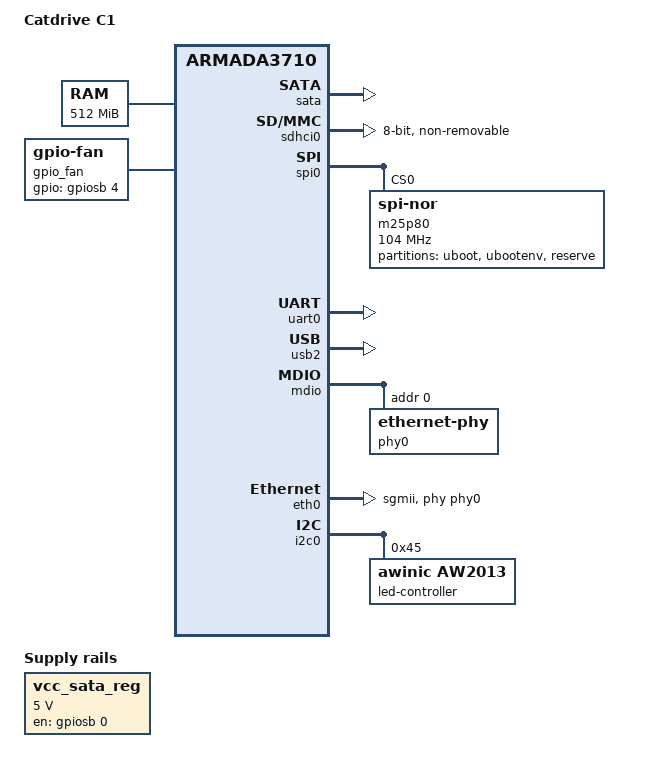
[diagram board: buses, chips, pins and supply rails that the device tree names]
// SPDX-License-Identifier: (GPL-2.0+ OR MIT)

/dts-v1/;

#include <dt-bindings/gpio/gpio.h>
#include <dt-bindings/leds/common.h>
#include "armada-372x.dtsi"

/ {
	model = "Catdrive C1";
	compatible = "catdrive,c1", "marvell,armada3720",
			 "marvell,armada3710";
	aliases {
		ethernet0 = &eth0;
		i2c0 = &i2c0;
	};
	chosen {
		stdout-path = "serial0:115200n8";
	};

	memory@0 {
		device_type = "memory";
		reg = <0x00000000 0x00000000 0x00000000 0x20000000>;
	};

	vcc_sata_reg: regulator {
		compatible = "regulator-fixed";
		regulator-name = "vcc_sata";
		regulator-min-microvolt = <5000000>;
		regulator-max-microvolt = <5000000>;
		regulator-boot-on;
		regulator-always-on;
		enable-active-high;
		gpio = <&gpiosb 0 GPIO_ACTIVE_HIGH>;
	};

	gpio_fan {
		compatible = "gpio-fan";
		gpios = <&gpiosb 4 GPIO_ACTIVE_HIGH>;
		gpio-fan,speed-map = <0    0
				      1000 1>;
	};
};

&sata {
	status = "okay";
};

&sdhci0 {
	status = "okay";
	non-removable;
	bus-width = <8>;
	mmc-ddr-1_8v;
	mmc-hs200-1_8v;
	marvell,pad-type = "fixed-1-8v";
};

&spi0 {
	status = "okay";

	m25p80@0 {
		status = "okay";
		reg = <0>;
		compatible = "jedec,spi-nor";
		spi-max-frequency = <104000000>;
		m25p,fast-read;

		partitions {
			compatible = "fixed-partitions";
			#address-cells = <1>;
			#size-cells = <1>;

			partition@0 {
				label = "uboot";
				reg = <0 0x1f0000>;
				read-only;
			};

			partition@1f0000 {
				label = "ubootenv";
				reg = <0x1f0000 0x10000>;
				read-only;
			};

			partition@200000 {
				label = "reserve";
				reg = <0x200000 0x600000>;
				read-only;
			};
		};
	};
};

&uart0 {
	status = "okay";
	pinctrl-names = "default";
	pinctrl-0 = <&uart1_pins>;
};

&usb2 {
	status = "okay";
};

&mdio {
	status = "okay";
	phy0: ethernet-phy@0 {
		reg = <0>;
		marvell,reg-init = <0x01 0x1A 0x0 0x47>;
	};
};

&eth0 {
	status = "okay";
	phy-mode = "sgmii";
	phy = <&phy0>;
	mac-address = [ 00 00 00 00 00 00 ];
};

&i2c0 {
	status = "okay";
	pinctrl-names = "default";
	pinctrl-0 = <&i2c1_pins>;
	led-controller@45 {
        compatible = "awinic,aw2013";
        reg = <0x45>;
        #address-cells = <1>;
        #size-cells = <0>;
        led@0 {
            reg = <0>;
            led-max-microamp = <15000>;
            function = LED_FUNCTION_INDICATOR;
            color = <LED_COLOR_ID_RED>;
        };
        led@1 {
            reg = <1>;
            led-max-microamp = <15000>;
            function = LED_FUNCTION_INDICATOR;
            color = <LED_COLOR_ID_GREEN>;
        };
        led@2 {
            reg = <2>;
            led-max-microamp = <15000>;
            function = LED_FUNCTION_INDICATOR;
            color = <LED_COLOR_ID_BLUE>;
        };
    };
};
